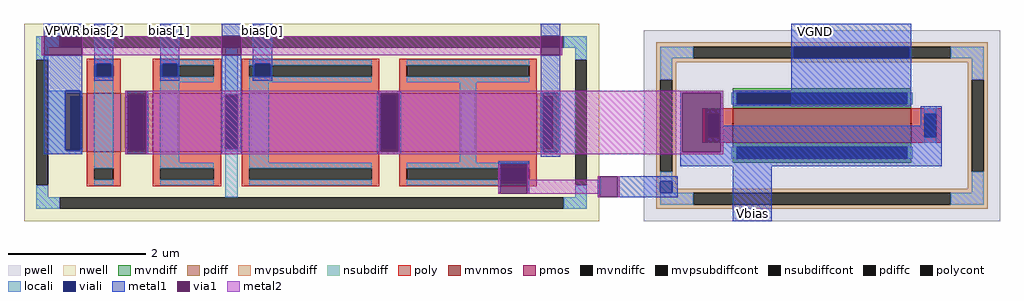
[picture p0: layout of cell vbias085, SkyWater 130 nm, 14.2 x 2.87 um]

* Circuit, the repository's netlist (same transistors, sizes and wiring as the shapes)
** sch_path: /home/anton/projects/NEW-ttsky25b-analog-vga-dacs/xschem/vbias085.sch
.subckt vbias085 VPWR VGND bias[2] bias[1] bias[0] Vbias
*.PININFO VPWR:B VGND:B bias[2:0]:I Vbias:O
XM1 Vbias bias[2] VPWR VPWR sky130_fd_pr__pfet_01v8 L=0.5 W=0.85 nf=1 m=1
XM2 Vbias bias[1] VPWR VPWR sky130_fd_pr__pfet_01v8 L=1 W=0.85 nf=1 m=1
XM3 Vbias bias[0] VPWR VPWR sky130_fd_pr__pfet_01v8 L=2 W=0.85 nf=1 m=1
XM4 Vbias VGND VPWR VPWR sky130_fd_pr__pfet_01v8 L=2 W=0.85 nf=1 m=1
XMmirror Vbias Vbias VGND VGND sky130_fd_pr__nfet_g5v0d10v5 L=0.5 W=2.6 nf=1 m=1
.ends

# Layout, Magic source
magic
tech sky130A
<< nwell >>
rect 0 0 837 287
<< pmos >>
rect 91 101 141 186
rect 187 101 287 186
rect 317 101 517 186
rect 546 101 746 186
<< pdiff >>
rect 62 182 91 186
rect 62 105 68 182
rect 85 105 91 182
rect 62 101 91 105
rect 141 182 187 186
rect 141 105 147 182
rect 181 105 187 182
rect 141 101 187 105
rect 287 182 317 186
rect 287 105 293 182
rect 311 105 317 182
rect 287 101 317 105
rect 517 182 546 186
rect 517 106 523 182
rect 540 106 546 182
rect 517 101 546 106
rect 746 182 775 186
rect 746 105 752 182
rect 769 105 775 182
rect 746 101 775 105
<< pdiffc >>
rect 68 105 85 182
rect 147 105 181 182
rect 293 105 311 182
rect 523 106 540 182
rect 752 105 769 182
<< nsubdiff >>
rect 18 252 52 269
rect 785 252 819 269
rect 18 235 35 252
rect 802 235 819 252
rect 18 35 35 52
rect 802 35 819 52
rect 18 18 52 35
rect 785 18 819 35
<< nsubdiffcont >>
rect 52 252 785 269
rect 18 52 35 235
rect 802 52 819 235
rect 52 18 785 35
<< poly >>
rect 91 227 141 236
rect 91 210 102 227
rect 130 210 141 227
rect 91 186 141 210
rect 187 227 287 236
rect 187 210 198 227
rect 276 210 287 227
rect 187 186 287 210
rect 317 227 517 236
rect 317 210 328 227
rect 506 210 517 227
rect 317 186 517 210
rect 546 227 746 236
rect 546 210 557 227
rect 735 210 746 227
rect 546 186 746 210
rect 91 77 141 101
rect 91 60 102 77
rect 130 60 141 77
rect 91 51 141 60
rect 187 77 287 101
rect 187 60 198 77
rect 276 60 287 77
rect 187 51 287 60
rect 317 77 517 101
rect 317 60 328 77
rect 506 60 517 77
rect 317 51 517 60
rect 546 77 746 101
rect 546 60 557 77
rect 735 60 746 77
rect 546 51 746 60
<< polycont >>
rect 102 210 130 227
rect 198 210 276 227
rect 328 210 506 227
rect 557 210 735 227
rect 102 60 130 77
rect 198 60 276 77
rect 328 60 506 77
rect 557 60 735 77
<< locali >>
rect 18 252 52 269
rect 785 252 819 269
rect 18 235 35 252
rect 102 229 130 235
rect 102 227 105 229
rect 127 227 130 229
rect 35 103 60 190
rect 82 182 85 190
rect 82 103 85 105
rect 35 97 85 103
rect 102 77 130 210
rect 198 229 276 235
rect 198 227 201 229
rect 223 227 276 229
rect 198 202 276 210
rect 147 184 181 190
rect 147 182 153 184
rect 175 182 181 184
rect 147 103 153 105
rect 175 103 181 105
rect 147 97 181 103
rect 102 52 130 60
rect 198 85 226 202
rect 293 184 311 252
rect 802 235 819 252
rect 198 77 276 85
rect 198 52 276 60
rect 18 35 35 52
rect 293 35 311 105
rect 328 229 506 235
rect 328 227 336 229
rect 358 227 506 229
rect 328 202 506 210
rect 557 227 735 235
rect 557 202 735 210
rect 328 85 356 202
rect 519 184 544 190
rect 519 103 520 184
rect 542 103 544 184
rect 519 97 544 103
rect 634 85 658 202
rect 752 187 802 190
rect 752 182 755 187
rect 752 100 755 105
rect 777 100 802 187
rect 752 97 802 100
rect 328 77 506 85
rect 328 52 506 60
rect 557 81 735 85
rect 557 77 693 81
rect 732 77 735 81
rect 557 55 693 60
rect 732 55 735 60
rect 557 52 735 55
rect 802 35 819 52
rect 18 18 52 35
rect 785 18 819 35
<< viali >>
rect 105 227 127 229
rect 105 210 127 227
rect 60 182 82 190
rect 60 105 68 182
rect 68 105 82 182
rect 60 103 82 105
rect 201 227 223 229
rect 201 210 223 227
rect 153 182 175 184
rect 153 105 175 182
rect 153 103 175 105
rect 1119 237 1288 254
rect 293 182 311 184
rect 293 105 311 182
rect 336 227 358 229
rect 336 210 358 227
rect 520 182 542 184
rect 520 106 523 182
rect 523 106 540 182
rect 540 106 542 182
rect 520 103 542 106
rect 755 182 777 187
rect 755 105 769 182
rect 769 105 777 182
rect 755 100 777 105
rect 693 77 732 81
rect 693 60 732 77
rect 693 55 732 60
rect 926 41 943 58
<< metal1 >>
rect 29 269 85 287
rect 29 190 85 241
rect 102 229 130 287
rect 102 210 105 229
rect 127 210 130 229
rect 102 204 130 210
rect 198 229 226 287
rect 198 210 201 229
rect 223 210 226 229
rect 198 204 226 210
rect 288 269 316 287
rect 29 103 60 190
rect 82 103 85 190
rect 29 97 85 103
rect 147 97 150 190
rect 178 97 181 190
rect 288 184 316 241
rect 333 229 361 287
rect 333 210 336 229
rect 358 210 361 229
rect 333 204 361 210
rect 752 269 780 287
rect 288 105 293 184
rect 311 105 316 184
rect 288 97 316 105
rect 514 186 549 190
rect 514 101 518 186
rect 545 101 549 186
rect 514 97 549 101
rect 752 187 780 241
rect 1116 254 1291 287
rect 1116 237 1119 254
rect 1288 237 1291 254
rect 752 100 755 187
rect 777 100 780 187
rect 752 94 780 100
rect 955 187 1017 190
rect 955 100 958 187
rect 1014 139 1017 187
rect 1116 167 1291 237
rect 1305 139 1335 167
rect 1014 100 1335 139
rect 690 83 735 87
rect 690 40 693 83
rect 732 40 735 83
rect 955 80 1335 100
rect 835 35 838 65
rect 864 58 951 65
rect 864 41 926 58
rect 943 41 951 58
rect 864 35 951 41
rect 1031 0 1088 80
<< via1 >>
rect 29 241 85 269
rect 288 241 316 269
rect 150 184 178 190
rect 150 103 153 184
rect 153 103 175 184
rect 175 103 178 184
rect 150 97 178 103
rect 752 241 780 269
rect 518 184 545 186
rect 518 103 520 184
rect 520 103 542 184
rect 542 103 545 184
rect 518 101 545 103
rect 958 100 1014 187
rect 693 81 732 83
rect 693 55 732 81
rect 693 40 732 55
rect 838 35 864 65
<< metal2 >>
rect 26 241 29 269
rect 85 241 288 269
rect 316 241 752 269
rect 780 241 783 269
rect 147 97 150 190
rect 178 187 1017 190
rect 178 186 958 187
rect 178 101 518 186
rect 545 101 958 186
rect 178 100 958 101
rect 1014 100 1017 187
rect 178 97 1017 100
rect 690 40 693 83
rect 732 60 735 83
rect 835 60 838 65
rect 732 40 838 60
rect 835 35 838 40
rect 864 35 867 65
use sky130_fd_pr__nfet_g5v0d10v5_VRH6W2  Mmirror
transform 0 1 1161 -1 0 139
box -139 -259 139 259
<< labels >>
flabel metal1 29 269 85 287 0 FreeSans 96 0 0 0 VPWR
port 9 nsew
flabel metal1 102 269 130 287 0 FreeSans 52 0 0 0 bias[2]
port 12 nsew
flabel metal1 198 269 226 287 0 FreeSans 52 0 0 0 bias[1]
port 13 nsew
flabel metal1 333 269 361 287 0 FreeSans 52 0 0 0 bias[0]
port 14 nsew
flabel metal1 1117 265 1186 287 0 FreeSans 96 0 0 0 VGND
port 15 nsew
flabel metal1 1031 0 1088 22 0 FreeSans 80 0 0 0 Vbias
port 17 nsew
<< end >>

# cell sky130_fd_pr__nfet_g5v0d10v5_VRH6W2: kit device sky130_fd_pr__nfet_g5v0d10v5, w 2.6 l 0.5 m 1 nf 1 diffcov 100 polycov 100 guard 1 glc 1 grc 1 gtc 1 gbc 1 tbcov 100 rlcov 100 topc 1 botc 1 poverlap 0 doverlap 1 lmin 0.50 wmin 0.42 class mosfet compatible {sky130_fd_pr__nfet_01v8 sky130_fd_pr__nfet_01v8_lvt sky130_fd_bs_flash__special_sonosfet_star sky130_fd_pr__nfet_g5v0d10v5 sky130_fd_pr__nfet_05v0_nvt sky130_fd_pr__nfet_03v3_nvt} full_metal 1 viasrc 100 viadrn 100 viagate 100 viagb 0 viagr 0 viagl 0 viagt 0
